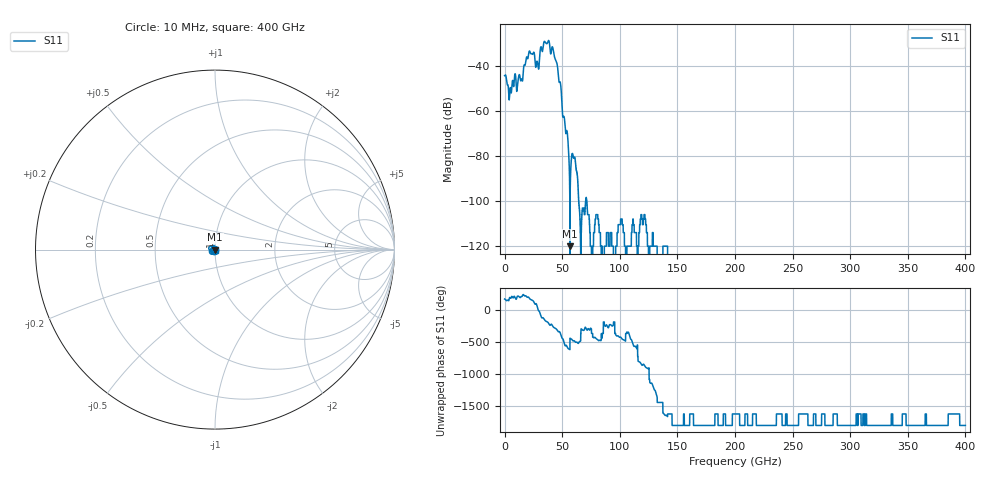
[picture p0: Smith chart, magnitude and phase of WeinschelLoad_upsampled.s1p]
# MHz MA S R 50.0
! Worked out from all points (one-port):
!   40000 points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, 10 MHz to 400 GHz, reference 50 ohm
!   lowest |S11| = -120.0 dB at 56.73 GHz (marker M1), VSWR 1.00, Z = 50 + j9.58e-05 ohm
!   |S11| at or under -10 dB: start of sweep to end of sweep
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10  0.005997 179.9
3780  0.001953 161.2
4740  0.003114 -159.3
8090  0.003753 -141.4
12020  0.005387 -136.4
14770  0.00511 -141.6
18090  0.0111 -129.1
20580  0.01635 -149.6
24160  0.01781 157.2
28410  0.01221 54.2
32780  0.02051 -115.0
37000  0.03119 -178.1
42500  0.02024 97.6
44020  0.01379 82.9
47260  0.004346 29.0
50010  0.001057 -76.8
51680  0.000729 -146.8
53080  0.000313 171.3
54640  0.000289 138.3
56730  1e-06 106.7
61380  7.8e-05 -133.4
100010  3e-06 -59.0
150010  0 11.7
200010  0 143.7
250010  0 -83.0
300010  0 -5.0
350010  0 30.9
400000  0 -0.0
